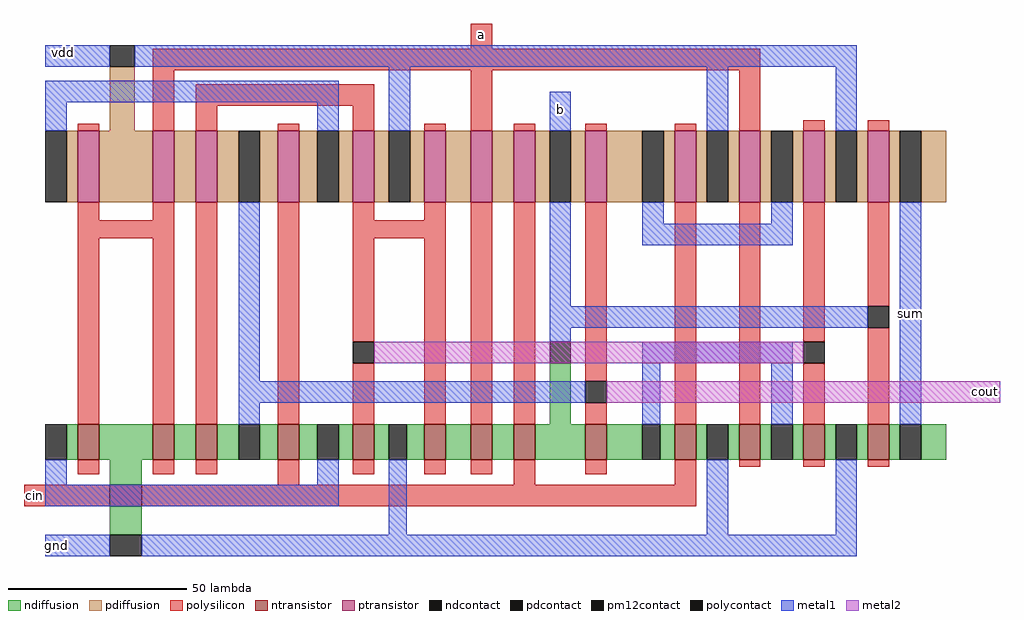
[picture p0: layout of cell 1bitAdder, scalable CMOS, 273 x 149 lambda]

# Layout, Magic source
magic
tech scmos
<< ntransistor >>
rect 2 -65 8 -55
rect 23 -65 29 -55
rect 35 -65 41 -55
rect 58 -65 64 -55
rect 79 -65 85 -55
rect 99 -65 105 -55
rect 112 -65 118 -55
rect 124 -65 130 -55
rect 144 -65 150 -55
rect 169 -65 175 -55
rect 187 -65 193 -55
rect 205 -65 211 -55
rect 223 -65 229 -55
rect 11 -78 20 -72
<< ptransistor >>
rect 2 7 8 27
rect 23 7 29 27
rect 35 7 41 27
rect 58 7 64 27
rect 79 7 85 27
rect 99 7 105 27
rect 112 7 118 27
rect 124 7 130 27
rect 144 7 150 27
rect 169 7 175 27
rect 187 7 193 27
rect 205 7 211 27
rect 223 7 229 27
<< ndiffusion >>
rect 134 -55 140 -38
rect -1 -65 2 -55
rect 8 -65 23 -55
rect 29 -65 35 -55
rect 41 -65 47 -55
rect 53 -65 58 -55
rect 64 -65 69 -55
rect 75 -65 79 -55
rect 85 -65 89 -55
rect 94 -65 99 -55
rect 105 -65 112 -55
rect 118 -65 124 -55
rect 130 -65 144 -55
rect 150 -65 160 -55
rect 165 -65 169 -55
rect 175 -65 178 -55
rect 184 -65 187 -55
rect 193 -65 196 -55
rect 202 -65 205 -55
rect 211 -65 214 -55
rect 220 -65 223 -55
rect 229 -65 232 -55
rect 238 -65 245 -55
rect 11 -72 20 -65
rect 11 -86 20 -78
<< pdiffusion >>
rect 11 27 18 45
rect -1 7 2 27
rect 8 7 23 27
rect 29 7 35 27
rect 41 7 47 27
rect 53 7 58 27
rect 64 7 69 27
rect 75 7 79 27
rect 85 7 89 27
rect 95 7 99 27
rect 105 7 112 27
rect 118 7 124 27
rect 130 7 134 27
rect 140 7 144 27
rect 150 7 160 27
rect 166 7 169 27
rect 175 7 178 27
rect 184 7 187 27
rect 193 7 196 27
rect 202 7 205 27
rect 211 7 214 27
rect 220 7 223 27
rect 229 7 232 27
rect 238 7 245 27
<< ndcontact >>
rect 134 -38 140 -32
rect -7 -65 -1 -55
rect 47 -65 53 -55
rect 69 -65 75 -55
rect 89 -65 94 -55
rect 160 -65 165 -55
rect 178 -65 184 -55
rect 196 -65 202 -55
rect 214 -65 220 -55
rect 232 -65 238 -55
rect 11 -92 20 -86
<< pdcontact >>
rect 11 45 18 51
rect -7 7 -1 27
rect 47 7 53 27
rect 69 7 75 27
rect 89 7 95 27
rect 134 7 140 27
rect 160 7 166 27
rect 178 7 184 27
rect 196 7 202 27
rect 214 7 220 27
rect 232 7 238 27
<< polysilicon >>
rect 112 50 118 57
rect 2 27 8 29
rect 23 44 193 50
rect 23 27 29 44
rect 35 34 85 40
rect 35 27 41 34
rect 58 27 64 29
rect 79 27 85 34
rect 99 27 105 29
rect 112 27 118 44
rect 124 27 130 29
rect 144 27 150 29
rect 169 27 175 29
rect 187 27 193 44
rect 205 27 211 30
rect 223 27 229 30
rect 2 2 8 7
rect 23 2 29 7
rect 2 -3 29 2
rect 2 -55 8 -3
rect 23 -55 29 -3
rect 35 -55 41 7
rect 58 -55 64 7
rect 79 2 85 7
rect 99 2 105 7
rect 79 -3 105 2
rect 79 -32 85 -3
rect 79 -55 85 -38
rect 99 -55 105 -3
rect 112 -55 118 7
rect 124 -55 130 7
rect 144 -43 150 7
rect 144 -55 150 -49
rect 169 -55 175 7
rect 187 -55 193 7
rect 205 -32 211 7
rect 205 -55 211 -38
rect 223 -22 229 7
rect 223 -55 229 -28
rect 2 -69 8 -65
rect 23 -69 29 -65
rect 35 -69 41 -65
rect 58 -72 64 -65
rect 79 -69 85 -65
rect 99 -69 105 -65
rect 112 -69 118 -65
rect 124 -72 130 -65
rect 144 -69 150 -65
rect 169 -72 175 -65
rect 187 -67 193 -65
rect 205 -67 211 -65
rect 223 -67 229 -65
rect -13 -78 11 -72
rect 20 -78 175 -72
<< polycontact >>
rect 223 -28 229 -22
<< metal1 >>
rect -7 45 11 51
rect 18 45 220 51
rect -7 35 75 41
rect -7 27 -1 35
rect 69 27 75 35
rect 89 27 95 45
rect 134 27 140 38
rect 178 27 184 45
rect 214 27 220 45
rect 47 -43 53 7
rect 134 -22 140 7
rect 160 1 166 7
rect 196 1 202 7
rect 160 -5 202 1
rect 134 -28 223 -22
rect 134 -32 140 -28
rect 160 -38 202 -32
rect 47 -49 144 -43
rect 47 -55 53 -49
rect 160 -55 165 -38
rect 196 -55 202 -38
rect 232 -55 238 7
rect -7 -72 -1 -65
rect 69 -72 75 -65
rect -7 -78 75 -72
rect 89 -86 94 -65
rect 178 -86 184 -65
rect 214 -86 220 -65
rect -7 -92 11 -86
rect 20 -92 220 -86
<< pm12contact >>
rect 79 -38 85 -32
rect 205 -38 211 -32
rect 144 -49 150 -43
<< metal2 >>
rect 85 -38 205 -32
rect 150 -49 260 -43
<< labels >>
rlabel metal1 -2 49 -2 49 5 vdd
rlabel metal1 -4 -89 -4 -89 1 gnd
rlabel polysilicon -10 -75 -10 -75 3 cin
rlabel metal1 137 33 137 33 1 b
rlabel polysilicon 115 54 115 54 5 a
rlabel metal1 235 -24 235 -24 1 sum
rlabel metal2 256 -46 256 -46 7 cout
<< end >>
